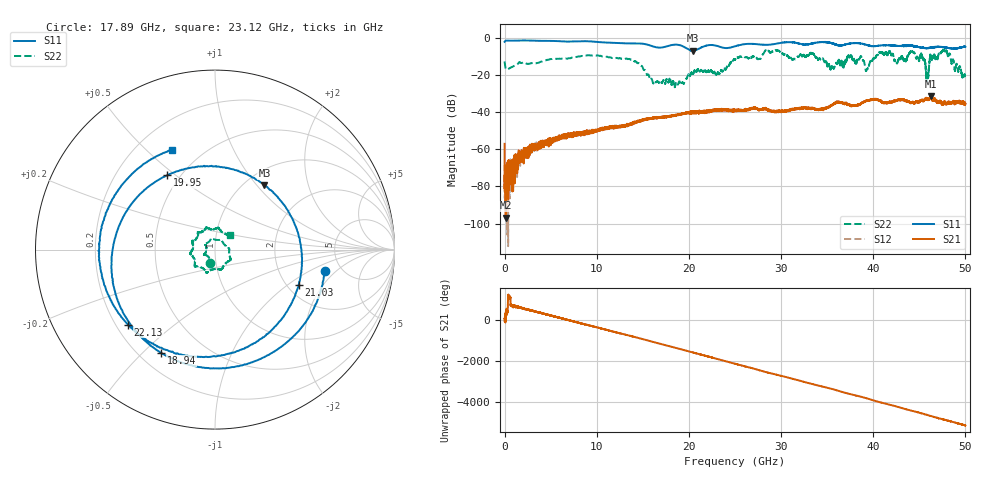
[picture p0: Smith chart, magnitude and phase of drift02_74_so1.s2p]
!Created with skrf (http://scikit-rf.org).
# Hz S RI R 50.0
!freq ReS11 ImS11 ReS21 ImS21 ReS12 ImS12 ReS22 ImS22
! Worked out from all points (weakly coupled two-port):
!   10001 points, 300 kHz to 50 GHz, reference 50 ohm
!   highest |S21| = -31.31 dB at 46.22 GHz (marker M1); lowest = -96.9 dB at 120.3 MHz (marker M2)
!   lowest |S11| = -6.9 dB at 20.45 GHz (marker M3), VSWR 2.65, Z = 60.9 + j54.8 ohm
!   |S11| at or under -10 dB: nowhere
!   |S22| runs from -26.6 to -6.2 dB; largest |S21 - S12| = 0.0032
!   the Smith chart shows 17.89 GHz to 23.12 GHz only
!   S11 on the Smith chart (normalised r, x): 17.89 GHz: 3.71, -1.42; 18.94 GHz: 0.29, -0.57; 19.95 GHz: 0.43, +0.47; 21.03 GHz: 2.30, -1.21; 22.13 GHz: 0.25, -0.35; 23.12 GHz: 0.34, +0.60
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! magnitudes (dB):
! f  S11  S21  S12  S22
! 300 kHz  -2.1  -57.0  -68.2  -12.7
! 120.3 MHz  -1.5  -96.9  -74.2  -16.6
! 3.215 GHz  -1.4  -59.1  -60.9  -13.5
! 8.335 GHz  -1.7  -50.9  -51.1  -9.7
! 13.71 GHz  -2.9  -46.4  -46.1  -11.7
! 16.67 GHz  -5.2  -42.9  -43.0  -23.7
! 17.89 GHz  -4.1  -42.1  -42.5  -22.0
! 18.94 GHz  -3.8  -41.0  -41.2  -23.5
! 19.95 GHz  -6.1  -40.3  -40.3  -19.6
! 20.45 GHz  -6.9  -40.3  -39.9  -19.3
! 21.03 GHz  -5.9  -40.1  -40.0  -16.8
! 22.13 GHz  -3.9  -39.6  -39.5  -17.6
! 23.12 GHz  -4.3  -38.9  -38.7  -18.7
! 25 GHz  -4.5  -39.0  -39.0  -11.5
! 33.34 GHz  -3.1  -37.7  -38.0  -8.3
! 39.33 GHz  -3.8  -33.7  -33.6  -16.8
! 41.67 GHz  -4.0  -34.6  -34.8  -7.8
! 44.28 GHz  -4.4  -34.8  -34.9  -7.4
! 45.86 GHz  -5.5  -32.8  -33.0  -19.0
! 46.22 GHz  -5.3  -31.3  -31.8  -9.5
! 47.76 GHz  -5.0  -34.4  -34.5  -6.9
! 50 GHz  -4.7  -35.5  -35.9  -18.2
